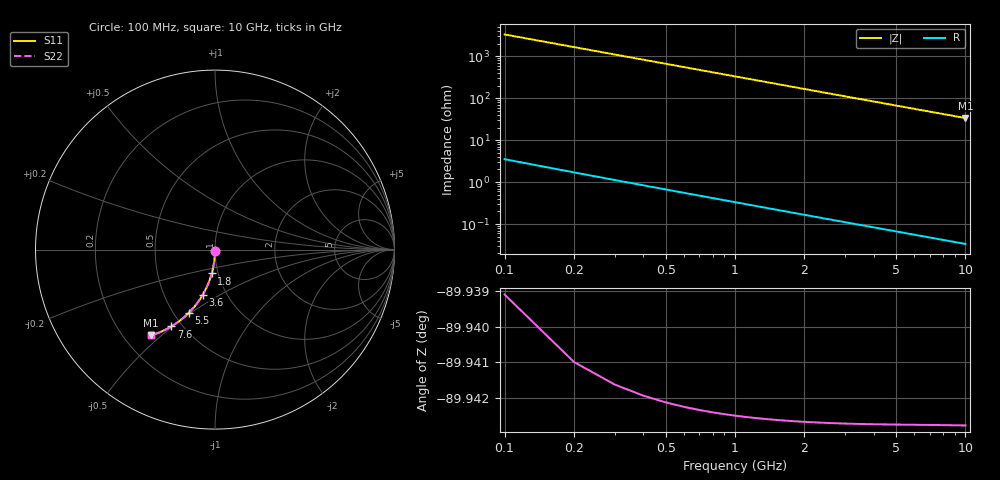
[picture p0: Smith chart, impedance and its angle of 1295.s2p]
# Hz S RI R 50.00
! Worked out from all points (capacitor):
!   100 points, 100 MHz to 10 GHz, reference 50 ohm
!   read as one part in shunt: C = 481 fF near 100 MHz
!   lowest |Z| = 33.6 ohm at 10 GHz (marker M1)
!   S11 on the Smith chart (normalised r, x): 100 MHz: 1.00, -0.02; 1.8 GHz: 0.93, -0.25; 3.6 GHz: 0.77, -0.42; 5.5 GHz: 0.60, -0.49; 7.6 GHz: 0.44, -0.50; 10 GHz: 0.31, -0.46
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1e8  -6.4e-05 -0.00755  0.9999 -0.00756  0.9999 -0.00756  -6.4e-05 -0.00755
2e8  -0.000242 -0.0151  0.9998 -0.0151  0.9998 -0.0151  -0.000242 -0.0151
3e8  -0.000535 -0.0226  0.9995 -0.0227  0.9995 -0.0227  -0.000535 -0.0226
4e8  -0.00094 -0.0301  0.9991 -0.0302  0.9991 -0.0302  -0.00094 -0.0301
5e8  -0.00146 -0.0377  0.9985 -0.0377  0.9985 -0.0377  -0.00146 -0.0377
6e8  -0.00209 -0.0451  0.9979 -0.0452  0.9979 -0.0452  -0.00209 -0.0451
8e8  -0.00369 -0.0601  0.9963 -0.0602  0.9963 -0.0602  -0.00369 -0.0601
1.1e9  -0.00691 -0.0823  0.9931 -0.0824  0.9931 -0.0824  -0.00691 -0.0823
1.4e9  -0.0111 -0.1042  0.9889 -0.1044  0.9889 -0.1044  -0.0111 -0.1042
1.8e9  -0.0181 -0.1329  0.9819 -0.1331  0.9819 -0.1331  -0.0181 -0.1329
2.1e9  -0.0245 -0.1539  0.9755 -0.1541  0.9755 -0.1541  -0.0245 -0.1539
2.5e9  -0.0342 -0.1812  0.9658 -0.1815  0.9658 -0.1815  -0.0342 -0.1812
2.9e9  -0.0454 -0.2076  0.9546 -0.2079  0.9546 -0.2079  -0.0454 -0.2076
3.4e9  -0.0612 -0.2391  0.9388 -0.2394  0.9388 -0.2394  -0.0612 -0.2391
3.6e9  -0.0681 -0.2512  0.9319 -0.2516  0.9319 -0.2516  -0.0681 -0.2512
4.3e9  -0.0941 -0.2912  0.9059 -0.2917  0.9059 -0.2917  -0.0941 -0.2912
5.1e9  -0.1271 -0.3323  0.8729 -0.3328  0.8729 -0.3328  -0.1271 -0.3323
5.5e9  -0.1446 -0.3509  0.8554 -0.3515  0.8554 -0.3515  -0.1446 -0.3509
6.7e9  -0.1999 -0.3991  0.8 -0.3998  0.8 -0.3998  -0.1999 -0.3991
7.6e9  -0.2429 -0.4279  0.7571 -0.4287  0.7571 -0.4287  -0.2429 -0.4279
8.4e9  -0.2812 -0.4486  0.7188 -0.4495  0.7188 -0.4495  -0.2812 -0.4486
1e10  -0.356 -0.4778  0.644 -0.4788  0.644 -0.4788  -0.356 -0.4778
